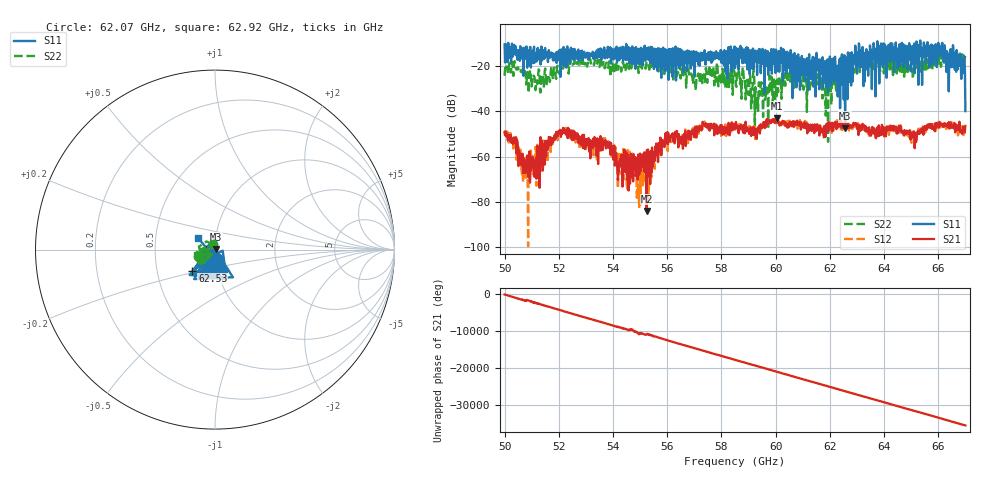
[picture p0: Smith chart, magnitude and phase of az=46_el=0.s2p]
!Created with skrf (http://scikit-rf.org).
# GHz S RI R 50.0
!freq ReS11 ImS11 ReS21 ImS21 ReS12 ImS12 ReS22 ImS22
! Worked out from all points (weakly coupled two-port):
!   1001 points, 50 GHz to 67 GHz, reference 50 ohm
!   highest |S21| = -43.11 dB at 60.05 GHz (marker M1); lowest = -84.1 dB at 55.24 GHz (marker M2)
!   lowest |S11| = -47.6 dB at 62.56 GHz (marker M3), VSWR 1.01, Z = 50.4 + j0.116 ohm
!   |S11| at or under -10 dB: 50.14 GHz to 63.07 GHz (12.94 GHz wide, 22.9 % of centre); 63.07 GHz to 63.62 GHz (543.6 MHz wide, 0.858 % of centre); 66.15 GHz to end of sweep (the widest 3 of 15)
!   |S22| runs from -53.4 to -14.0 dB; largest |S21 - S12| = 0.0028
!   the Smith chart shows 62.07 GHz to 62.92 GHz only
!   S11 on the Smith chart (normalised r, x): 62.07 GHz: 1.03, -0.10; 62.53 GHz: 0.76, -0.19; 62.92 GHz: 0.82, +0.11
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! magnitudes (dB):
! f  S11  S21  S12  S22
! 50 GHz  -10.4  -49.3  -49.7  -24.3
! 50.87 GHz  -13.1  -63.4  -99.6  -24.5
! 51.95 GHz  -13.7  -51.1  -52.8  -19.9
! 52.84 GHz  -14.6  -55.0  -53.9  -19.5
! 54.74 GHz  -18.5  -71.0  -62.4  -19.0
! 54.93 GHz  -14.3  -59.1  -63.0  -21.5
! 55.24 GHz  -16.6  -84.1  -64.4  -18.1
! 55.68 GHz  -14.0  -55.3  -53.9  -22.4
! 58.5 GHz  -20.9  -47.3  -46.5  -24.0
! 59.32 GHz  -24.0  -48.8  -49.5  -35.4
! 60.05 GHz  -22.3  -43.1  -43.5  -28.0
! 60.64 GHz  -14.9  -44.3  -46.2  -21.6
! 61.34 GHz  -24.2  -47.5  -46.7  -25.1
! 62.07 GHz  -26.1  -48.5  -49.5  -29.4
! 62.53 GHz  -15.2  -47.3  -47.6  -19.0
! 62.56 GHz  -47.6  -44.8  -45.0  -19.7
! 62.92 GHz  -18.6  -45.3  -45.4  -19.8
! 64.18 GHz  -17.6  -48.1  -50.4  -18.5
! 65.1 GHz  -11.0  -48.9  -49.2  -18.3
! 66.08 GHz  -15.5  -45.9  -45.3  -15.7
! 66.9 GHz  -17.0  -49.1  -45.8  -15.2
! 67 GHz  -39.9  -46.5  -49.3  -15.6
